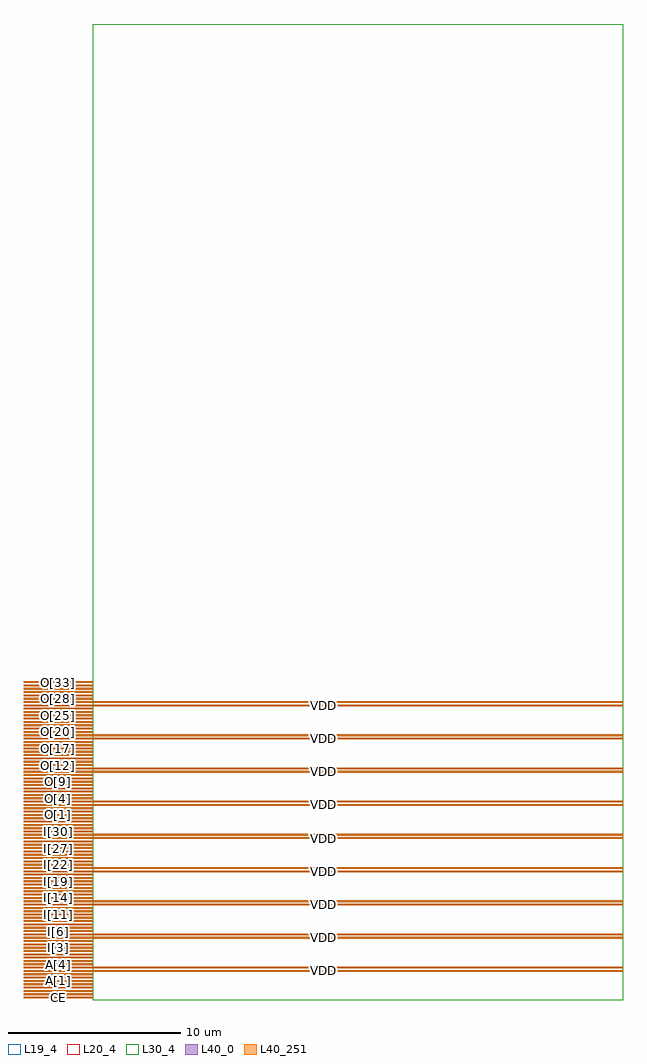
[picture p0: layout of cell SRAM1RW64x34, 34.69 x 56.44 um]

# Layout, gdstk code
import gdstk
lib = gdstk.Library(unit=1e-6, precision=1e-09)
def R(c, l, rs):  # rectangles x0, y0, x1, y1
    for r in rs: c.add(gdstk.rectangle(r[:2], r[2:], *l))
def A(c, l, x, y, w, h, nx, ny, dx, dy):  # array of equal rectangles
    R(c, l, [(x+i*dx, y+j*dy, x+i*dx+w, y+j*dy+h) for i in range(nx) for j in range(ny)])
L19_4 = (19, 4)
L20_4 = (20, 4)
L30_4 = (30, 4)
L40_0 = (40, 0)
L40_251 = (40, 251)

sram1rw64x34 = lib.new_cell('SRAM1RW64x34')
R(sram1rw64x34, L19_4, [(4,0,34.688,56.44)])
R(sram1rw64x34, L20_4, [(4,0,34.688,56.44)])
R(sram1rw64x34, L30_4, [(4,0,34.688,56.44)])
A(sram1rw64x34, L40_0, 0, 0.096, 4, 0.096, 1, 8, 0, 0.192)
A(sram1rw64x34, L40_0, 0, 2.016, 4, 0.096, 1, 8, 0, 0.192)
A(sram1rw64x34, L40_0, 0, 3.936, 4, 0.096, 1, 8, 0, 0.192)
A(sram1rw64x34, L40_0, 0, 5.856, 4, 0.096, 1, 8, 0, 0.192)
A(sram1rw64x34, L40_0, 0, 7.776, 4, 0.096, 1, 8, 0, 0.192)
A(sram1rw64x34, L40_0, 0, 9.696, 4, 0.096, 1, 8, 0, 0.192)
A(sram1rw64x34, L40_0, 0, 11.616, 4, 0.096, 1, 8, 0, 0.192)
A(sram1rw64x34, L40_0, 0, 13.536, 4, 0.096, 1, 8, 0, 0.192)
A(sram1rw64x34, L40_0, 0, 15.456, 4, 0.096, 1, 8, 0, 0.192)
A(sram1rw64x34, L40_0, 0, 17.376, 4, 0.096, 1, 6, 0, 0.192)
R(sram1rw64x34, L40_0, [(0,1.632,34.688,1.728), (0,1.824,34.688,1.92), (0,3.552,34.688,3.648), (0,3.744,34.688,3.84), (0,5.472,34.688,5.568), (0,5.664,34.688,5.76), (0,7.392,34.688,7.488), (0,7.584,34.688,7.68), (0,9.312,34.688,9.408), (0,9.504,34.688,9.6), (0,11.232,34.688,11.328), (0,11.424,34.688,11.52), (0,13.152,34.688,13.248), (0,13.344,34.688,13.44), (0,15.072,34.688,15.168), (0,15.264,34.688,15.36), (0,16.992,34.688,17.088), (0,17.184,34.688,17.28)])
A(sram1rw64x34, L40_251, 0, 0.096, 4, 0.096, 1, 8, 0, 0.192)
A(sram1rw64x34, L40_251, 0, 2.016, 4, 0.096, 1, 8, 0, 0.192)
A(sram1rw64x34, L40_251, 0, 3.936, 4, 0.096, 1, 8, 0, 0.192)
A(sram1rw64x34, L40_251, 0, 5.856, 4, 0.096, 1, 8, 0, 0.192)
A(sram1rw64x34, L40_251, 0, 7.776, 4, 0.096, 1, 8, 0, 0.192)
A(sram1rw64x34, L40_251, 0, 9.696, 4, 0.096, 1, 8, 0, 0.192)
A(sram1rw64x34, L40_251, 0, 11.616, 4, 0.096, 1, 8, 0, 0.192)
A(sram1rw64x34, L40_251, 0, 13.536, 4, 0.096, 1, 8, 0, 0.192)
A(sram1rw64x34, L40_251, 0, 15.456, 4, 0.096, 1, 8, 0, 0.192)
A(sram1rw64x34, L40_251, 0, 17.376, 4, 0.096, 1, 6, 0, 0.192)
R(sram1rw64x34, L40_251, [(0,1.632,34.688,1.728), (0,1.824,34.688,1.92), (0,3.552,34.688,3.648), (0,3.744,34.688,3.84), (0,5.472,34.688,5.568), (0,5.664,34.688,5.76), (0,7.392,34.688,7.488), (0,7.584,34.688,7.68), (0,9.312,34.688,9.408), (0,9.504,34.688,9.6), (0,11.232,34.688,11.328), (0,11.424,34.688,11.52), (0,13.152,34.688,13.248), (0,13.344,34.688,13.44), (0,15.072,34.688,15.168), (0,15.264,34.688,15.36), (0,16.992,34.688,17.088), (0,17.184,34.688,17.28)])
sram1rw64x34.add(gdstk.Label('CE', (2,0.144), layer=40, texttype=0))
sram1rw64x34.add(gdstk.Label('WEB', (2,0.336), layer=40, texttype=0))
sram1rw64x34.add(gdstk.Label('OEB', (2,0.528), layer=40, texttype=0))
sram1rw64x34.add(gdstk.Label('CSB', (2,0.72), layer=40, texttype=0))
sram1rw64x34.add(gdstk.Label('A[0]', (2,0.912), layer=40, texttype=0))
sram1rw64x34.add(gdstk.Label('A[1]', (2,1.104), layer=40, texttype=0))
sram1rw64x34.add(gdstk.Label('A[2]', (2,1.296), layer=40, texttype=0))
sram1rw64x34.add(gdstk.Label('A[3]', (2,1.488), layer=40, texttype=0))
sram1rw64x34.add(gdstk.Label('A[4]', (2,2.064), layer=40, texttype=0))
sram1rw64x34.add(gdstk.Label('A[5]', (2,2.256), layer=40, texttype=0))
sram1rw64x34.add(gdstk.Label('I[0]', (2,2.448), layer=40, texttype=0))
sram1rw64x34.add(gdstk.Label('I[1]', (2,2.64), layer=40, texttype=0))
sram1rw64x34.add(gdstk.Label('I[2]', (2,2.832), layer=40, texttype=0))
sram1rw64x34.add(gdstk.Label('I[3]', (2,3.024), layer=40, texttype=0))
sram1rw64x34.add(gdstk.Label('I[4]', (2,3.216), layer=40, texttype=0))
sram1rw64x34.add(gdstk.Label('I[5]', (2,3.408), layer=40, texttype=0))
sram1rw64x34.add(gdstk.Label('I[6]', (2,3.984), layer=40, texttype=0))
sram1rw64x34.add(gdstk.Label('I[7]', (2,4.176), layer=40, texttype=0))
sram1rw64x34.add(gdstk.Label('I[8]', (2,4.368), layer=40, texttype=0))
sram1rw64x34.add(gdstk.Label('I[9]', (2,4.56), layer=40, texttype=0))
sram1rw64x34.add(gdstk.Label('I[10]', (2,4.752), layer=40, texttype=0))
sram1rw64x34.add(gdstk.Label('I[11]', (2,4.944), layer=40, texttype=0))
sram1rw64x34.add(gdstk.Label('I[12]', (2,5.136), layer=40, texttype=0))
sram1rw64x34.add(gdstk.Label('I[13]', (2,5.328), layer=40, texttype=0))
sram1rw64x34.add(gdstk.Label('I[14]', (2,5.904), layer=40, texttype=0))
sram1rw64x34.add(gdstk.Label('I[15]', (2,6.096), layer=40, texttype=0))
sram1rw64x34.add(gdstk.Label('I[16]', (2,6.288), layer=40, texttype=0))
sram1rw64x34.add(gdstk.Label('I[17]', (2,6.48), layer=40, texttype=0))
sram1rw64x34.add(gdstk.Label('I[18]', (2,6.672), layer=40, texttype=0))
sram1rw64x34.add(gdstk.Label('I[19]', (2,6.864), layer=40, texttype=0))
sram1rw64x34.add(gdstk.Label('I[20]', (2,7.056), layer=40, texttype=0))
sram1rw64x34.add(gdstk.Label('I[21]', (2,7.248), layer=40, texttype=0))
sram1rw64x34.add(gdstk.Label('I[22]', (2,7.824), layer=40, texttype=0))
sram1rw64x34.add(gdstk.Label('I[23]', (2,8.016), layer=40, texttype=0))
sram1rw64x34.add(gdstk.Label('I[24]', (2,8.208), layer=40, texttype=0))
sram1rw64x34.add(gdstk.Label('I[25]', (2,8.4), layer=40, texttype=0))
sram1rw64x34.add(gdstk.Label('I[26]', (2,8.592), layer=40, texttype=0))
sram1rw64x34.add(gdstk.Label('I[27]', (2,8.784), layer=40, texttype=0))
sram1rw64x34.add(gdstk.Label('I[28]', (2,8.976), layer=40, texttype=0))
sram1rw64x34.add(gdstk.Label('I[29]', (2,9.168), layer=40, texttype=0))
sram1rw64x34.add(gdstk.Label('I[30]', (2,9.744), layer=40, texttype=0))
sram1rw64x34.add(gdstk.Label('I[31]', (2,9.936), layer=40, texttype=0))
sram1rw64x34.add(gdstk.Label('I[32]', (2,10.128), layer=40, texttype=0))
sram1rw64x34.add(gdstk.Label('I[33]', (2,10.32), layer=40, texttype=0))
sram1rw64x34.add(gdstk.Label('O[0]', (2,10.512), layer=40, texttype=0))
sram1rw64x34.add(gdstk.Label('O[1]', (2,10.704), layer=40, texttype=0))
sram1rw64x34.add(gdstk.Label('O[2]', (2,10.896), layer=40, texttype=0))
sram1rw64x34.add(gdstk.Label('O[3]', (2,11.088), layer=40, texttype=0))
sram1rw64x34.add(gdstk.Label('O[4]', (2,11.664), layer=40, texttype=0))
sram1rw64x34.add(gdstk.Label('O[5]', (2,11.856), layer=40, texttype=0))
sram1rw64x34.add(gdstk.Label('O[6]', (2,12.048), layer=40, texttype=0))
sram1rw64x34.add(gdstk.Label('O[7]', (2,12.24), layer=40, texttype=0))
sram1rw64x34.add(gdstk.Label('O[8]', (2,12.432), layer=40, texttype=0))
sram1rw64x34.add(gdstk.Label('O[9]', (2,12.624), layer=40, texttype=0))
sram1rw64x34.add(gdstk.Label('O[10]', (2,12.816), layer=40, texttype=0))
sram1rw64x34.add(gdstk.Label('O[11]', (2,13.008), layer=40, texttype=0))
sram1rw64x34.add(gdstk.Label('O[12]', (2,13.584), layer=40, texttype=0))
sram1rw64x34.add(gdstk.Label('O[13]', (2,13.776), layer=40, texttype=0))
sram1rw64x34.add(gdstk.Label('O[14]', (2,13.968), layer=40, texttype=0))
sram1rw64x34.add(gdstk.Label('O[15]', (2,14.16), layer=40, texttype=0))
sram1rw64x34.add(gdstk.Label('O[16]', (2,14.352), layer=40, texttype=0))
sram1rw64x34.add(gdstk.Label('O[17]', (2,14.544), layer=40, texttype=0))
sram1rw64x34.add(gdstk.Label('O[18]', (2,14.736), layer=40, texttype=0))
sram1rw64x34.add(gdstk.Label('O[19]', (2,14.928), layer=40, texttype=0))
sram1rw64x34.add(gdstk.Label('O[20]', (2,15.504), layer=40, texttype=0))
sram1rw64x34.add(gdstk.Label('O[21]', (2,15.696), layer=40, texttype=0))
sram1rw64x34.add(gdstk.Label('O[22]', (2,15.888), layer=40, texttype=0))
sram1rw64x34.add(gdstk.Label('O[23]', (2,16.08), layer=40, texttype=0))
sram1rw64x34.add(gdstk.Label('O[24]', (2,16.272), layer=40, texttype=0))
sram1rw64x34.add(gdstk.Label('O[25]', (2,16.464), layer=40, texttype=0))
sram1rw64x34.add(gdstk.Label('O[26]', (2,16.656), layer=40, texttype=0))
sram1rw64x34.add(gdstk.Label('O[27]', (2,16.848), layer=40, texttype=0))
sram1rw64x34.add(gdstk.Label('O[28]', (2,17.424), layer=40, texttype=0))
sram1rw64x34.add(gdstk.Label('O[29]', (2,17.616), layer=40, texttype=0))
sram1rw64x34.add(gdstk.Label('O[30]', (2,17.808), layer=40, texttype=0))
sram1rw64x34.add(gdstk.Label('O[31]', (2,18), layer=40, texttype=0))
sram1rw64x34.add(gdstk.Label('O[32]', (2,18.192), layer=40, texttype=0))
sram1rw64x34.add(gdstk.Label('O[33]', (2,18.384), layer=40, texttype=0))
sram1rw64x34.add(gdstk.Label('VDD', (17.344,1.68), layer=40, texttype=0))
sram1rw64x34.add(gdstk.Label('VDD', (17.344,3.6), layer=40, texttype=0))
sram1rw64x34.add(gdstk.Label('VDD', (17.344,5.52), layer=40, texttype=0))
sram1rw64x34.add(gdstk.Label('VDD', (17.344,7.44), layer=40, texttype=0))
sram1rw64x34.add(gdstk.Label('VDD', (17.344,9.36), layer=40, texttype=0))
sram1rw64x34.add(gdstk.Label('VDD', (17.344,11.28), layer=40, texttype=0))
sram1rw64x34.add(gdstk.Label('VDD', (17.344,13.2), layer=40, texttype=0))
sram1rw64x34.add(gdstk.Label('VDD', (17.344,15.12), layer=40, texttype=0))
sram1rw64x34.add(gdstk.Label('VDD', (17.344,17.04), layer=40, texttype=0))
sram1rw64x34.add(gdstk.Label('VSS', (17.344,1.872), layer=40, texttype=0))
sram1rw64x34.add(gdstk.Label('VSS', (17.344,3.792), layer=40, texttype=0))
sram1rw64x34.add(gdstk.Label('VSS', (17.344,5.712), layer=40, texttype=0))
sram1rw64x34.add(gdstk.Label('VSS', (17.344,7.632), layer=40, texttype=0))
sram1rw64x34.add(gdstk.Label('VSS', (17.344,9.552), layer=40, texttype=0))
sram1rw64x34.add(gdstk.Label('VSS', (17.344,11.472), layer=40, texttype=0))
sram1rw64x34.add(gdstk.Label('VSS', (17.344,13.392), layer=40, texttype=0))
sram1rw64x34.add(gdstk.Label('VSS', (17.344,15.312), layer=40, texttype=0))
sram1rw64x34.add(gdstk.Label('VSS', (17.344,17.232), layer=40, texttype=0))

lib.write_gds('SRAM1RW64x34.gds')
